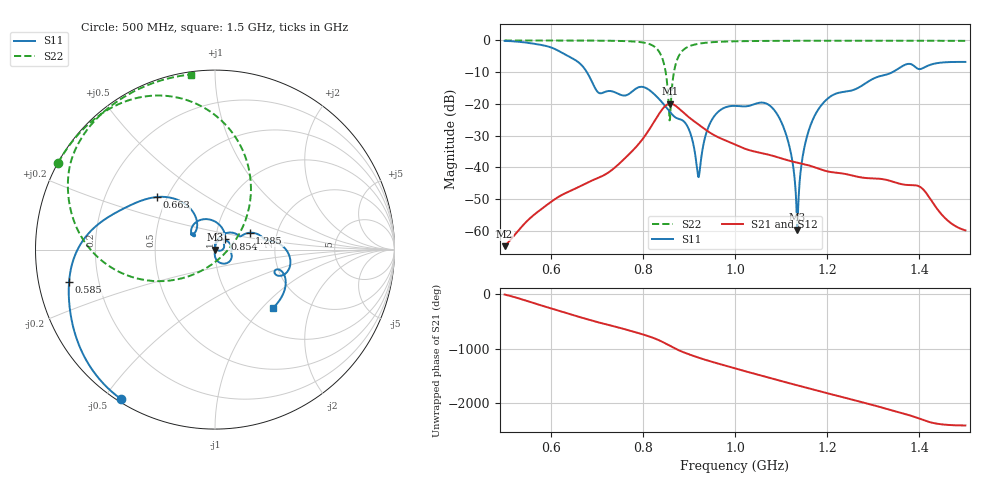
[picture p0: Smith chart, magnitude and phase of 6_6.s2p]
! TOUCHSTONE file generated by CST MICROWAVE STUDIO
! Date and time: Sat Oct 24 11:43:24 2020
! Project name: Scenario_1_Circular_Tissue_out_of_Line.cst
! Parameters = {dy1=-259.295; L_HA=400; MT=2.54; Rad_Dielectric=30; Rad_Lower=7.3; Rad_Upper=30; a_HA=580; a_WG=246; b_HA=500; b_WG=121; c_HA=0; c_WG=187; d_feed=85; dx1=1039; h_feed=15; h_lower=18; h_upper=40}
! Header version: 2018
! Port assignment regex: !\s*Touchstone port\s*([0-9]+)\s*=\s*(CST MWS port|CST DS port)\s*([0-9]+|Zmin|Zmax)\s*\(\"(.*)\"\)(\s*mode\s*([0-9]+))?.*
! Touchstone port assignment:
! Touchstone port 1 = CST MWS port 1 ("")
! Touchstone port 2 = CST MWS port 2 ("")
# GHz S DB R 50
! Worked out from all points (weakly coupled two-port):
!   1001 points, 500 MHz to 1.5 GHz, reference 50 ohm
!   highest |S21| = -19.91 dB at 860 MHz (marker M1); lowest = -64.9 dB at 500 MHz (marker M2)
!   lowest |S11| = -59.7 dB at 1.135 GHz (marker M3), VSWR 1.00, Z = 50.1 - j0.0331 ohm
!   |S11| at or under -10 dB: 678.5 MHz to 1.342 GHz (663.3 MHz wide, 65.7 % of centre)
!   |S22| runs from -25.2 to 0.0 dB; largest |S21 - S12| = 2.9e-06
!   S11 on the Smith chart (normalised r, x): 500 MHz: 0.01, -0.55; 585 MHz: 0.09, -0.11; 663 MHz: 0.44, +0.32; 854 MHz: 1.11, +0.13; 1.285 GHz: 1.45, +0.28; 1.5 GHz: 1.39, -1.15
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0.5  -0.14 -122.3  -64.88 -9.9  -64.88 -9.9  -0.01 151.1
0.585  -1.58 -167.3  -52.61 136.9  -52.61 136.9  -0.02 145.3
0.663  -7.22 137.7  -46.04 -62.4  -46.04 -62.4  -0.04 138.8
0.667  -7.78 134.0  -45.75 -72.1  -45.75 -72.1  -0.04 138.4
0.706  -16.63 137.5  -43.18 -164.3  -43.18 -164.3  -0.07 134.1
0.788  -14.95 135.9  -33.16 10.7  -33.16 10.7  -0.42 117.8
0.834  -18.29 69.0  -23.42 -122.3  -23.42 -122.3  -3.26 84.1
0.854  -21.68 46.9  -20.10 153.1  -20.10 153.1  -15.54 34.0
0.86  -22.76 42.1  -19.91 125.4  -19.91 125.4  -21.89 -99.2
0.878  -24.75 31.3  -21.44 50.0  -21.44 50.0  -4.89 -168.8
0.901  -28.42 -4.8  -24.35 -26.1  -24.35 -26.1  -1.82 167.5
0.921  -43.10 39.1  -26.54 -84.4  -26.54 -84.4  -1.05 157.6
0.95  -24.98 65.2  -29.48 -160.3  -29.48 -160.3  -0.55 149.1
1  -20.64 3.6  -32.85 78.6  -32.85 78.6  -0.28 140.3
1.09  -22.93 -73.9  -36.72 -128.9  -36.72 -128.9  -0.13 130.6
1.118  -33.38 -93.6  -37.94 167.5  -37.94 167.5  -0.11 128.2
1.135  -59.69 -18.6  -38.54 129.4  -38.54 129.4  -0.11 126.8
1.149  -34.87 87.2  -38.99 97.5  -38.99 97.5  -0.10 125.6
1.167  -25.61 78.9  -39.71 55.9  -39.71 55.9  -0.10 124.2
1.285  -13.36 25.9  -43.39 160.1  -43.39 160.1  -0.08 115.2
1.334  -10.51 10.0  -44.17 45.6  -44.17 45.6  -0.09 111.5
1.5  -6.77 -45.6  -59.90 115.1  -59.91 115.0  -0.13 97.9
